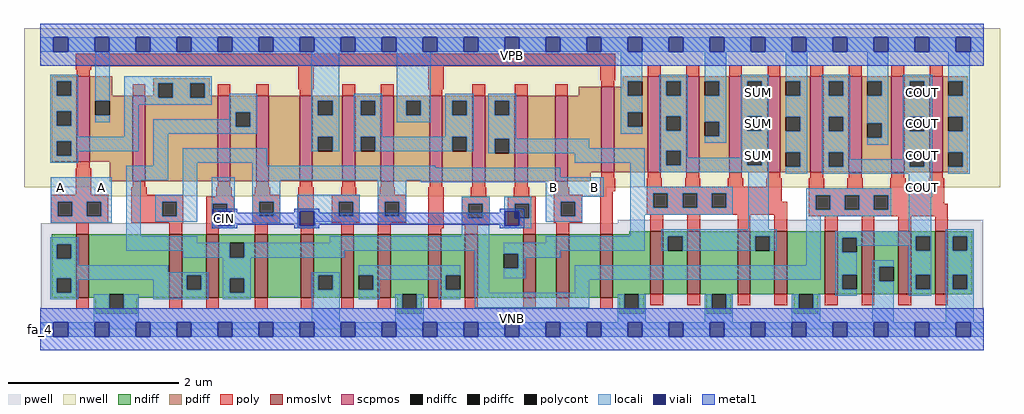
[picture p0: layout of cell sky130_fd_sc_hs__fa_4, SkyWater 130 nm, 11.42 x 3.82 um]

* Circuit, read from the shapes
.subckt sky130_fd_sc_hs__fa_4 A B CIN VGND VNB VPB VPWR COUT SUM
XM1 VGND A n1 VNB sky130_fd_pr__nfet_01v8_lvt w=0.74 l=0.15
XM2 n1 B VGND VNB sky130_fd_pr__nfet_01v8_lvt w=0.74 l=0.15
XM3 n2 CIN n1 VNB sky130_fd_pr__nfet_01v8_lvt w=0.74 l=0.15
XM4 n3 B n2 VNB sky130_fd_pr__nfet_01v8_lvt w=0.74 l=0.15
XM5 VGND A n3 VNB sky130_fd_pr__nfet_01v8_lvt w=0.74 l=0.15
XM6 n4 CIN VGND VNB sky130_fd_pr__nfet_01v8_lvt w=0.74 l=0.15
XM7 VGND B n4 VNB sky130_fd_pr__nfet_01v8_lvt w=0.74 l=0.15
XM8 n4 A VGND VNB sky130_fd_pr__nfet_01v8_lvt w=0.74 l=0.15
XM9 n5 n2 n4 VNB sky130_fd_pr__nfet_01v8_lvt w=0.74 l=0.15
XM10 n6 CIN n5 VNB sky130_fd_pr__nfet_01v8_lvt w=0.74 l=0.15
XM11 n7 B n6 VNB sky130_fd_pr__nfet_01v8_lvt w=0.74 l=0.15
XM12 VGND A n7 VNB sky130_fd_pr__nfet_01v8_lvt w=0.74 l=0.15
XM13 SUM n5 VGND VNB sky130_fd_pr__nfet_01v8_lvt w=0.74 l=0.15 m=4
XM14 COUT n2 VGND VNB sky130_fd_pr__nfet_01v8_lvt w=0.74 l=0.15 m=4
XM15 VPWR A n8 VPB sky130_fd_pr__pfet_01v8 w=1 l=0.15
XM16 n8 B VPWR VPB sky130_fd_pr__pfet_01v8 w=1 l=0.15
XM17 n2 CIN n8 VPB sky130_fd_pr__pfet_01v8 w=1 l=0.15
XM18 n9 B n2 VPB sky130_fd_pr__pfet_01v8 w=1 l=0.15
XM19 VPWR A n9 VPB sky130_fd_pr__pfet_01v8 w=1 l=0.15
XM20 n10 CIN VPWR VPB sky130_fd_pr__pfet_01v8 w=1 l=0.15
XM21 VPWR B n10 VPB sky130_fd_pr__pfet_01v8 w=1 l=0.15
XM22 n10 A VPWR VPB sky130_fd_pr__pfet_01v8 w=1 l=0.15
XM23 n5 n2 n10 VPB sky130_fd_pr__pfet_01v8 w=1 l=0.15
XM24 n11 CIN n5 VPB sky130_fd_pr__pfet_01v8 w=1 l=0.15
XM25 n12 B n11 VPB sky130_fd_pr__pfet_01v8 w=1 l=0.15
XM26 VPWR A n12 VPB sky130_fd_pr__pfet_01v8 w=1 l=0.15
XM27 SUM n5 VPWR VPB sky130_fd_pr__pfet_01v8 w=1.12 l=0.15 m=4
XM28 COUT n2 VPWR VPB sky130_fd_pr__pfet_01v8 w=1.12 l=0.15 m=4
.ends

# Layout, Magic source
magic
tech sky130A
magscale 1 2
<< nwell >>
rect -38 332 2246 704
rect 127 311 1324 332
<< pwell >>
rect 1352 248 2207 256
rect 1 49 2207 248
rect 0 0 2208 49
<< scpmos >>
rect 86 392 116 592
rect 216 347 246 547
rect 415 347 445 547
rect 505 347 535 547
rect 607 347 637 547
rect 707 347 737 547
rect 797 347 827 547
rect 911 347 941 547
rect 1011 347 1041 547
rect 1111 347 1141 547
rect 1205 347 1235 547
rect 1313 368 1343 568
rect 1422 368 1452 592
rect 1512 368 1542 592
rect 1612 368 1642 592
rect 1702 368 1732 592
rect 1802 368 1832 592
rect 1892 368 1922 592
rect 1992 368 2022 592
rect 2082 368 2112 592
<< nmoslvt >>
rect 84 74 114 222
rect 302 74 332 222
rect 388 74 418 222
rect 502 74 532 222
rect 610 74 640 222
rect 704 74 734 222
rect 790 74 820 222
rect 908 74 938 222
rect 994 74 1024 222
rect 1130 74 1160 222
rect 1208 74 1238 222
rect 1310 74 1340 222
rect 1428 82 1458 230
rect 1514 82 1544 230
rect 1632 82 1662 230
rect 1718 82 1748 230
rect 1836 82 1866 230
rect 1922 82 1952 230
rect 2008 82 2038 230
rect 2094 82 2124 230
<< ndiff >>
rect 1378 222 1428 230
rect 27 199 84 222
rect 27 165 39 199
rect 73 165 84 199
rect 27 120 84 165
rect 27 86 39 120
rect 73 86 84 120
rect 27 74 84 86
rect 114 82 302 222
rect 114 74 161 82
rect 129 48 161 74
rect 195 74 302 82
rect 332 127 388 222
rect 332 93 343 127
rect 377 93 388 127
rect 332 74 388 93
rect 418 202 502 222
rect 418 168 443 202
rect 477 168 502 202
rect 418 120 502 168
rect 418 86 443 120
rect 477 86 502 120
rect 418 74 502 86
rect 532 74 610 222
rect 640 127 704 222
rect 640 93 651 127
rect 685 93 704 127
rect 640 74 704 93
rect 734 127 790 222
rect 734 93 745 127
rect 779 93 790 127
rect 734 74 790 93
rect 820 82 908 222
rect 820 74 847 82
rect 195 48 227 74
rect 835 48 847 74
rect 881 74 908 82
rect 938 127 994 222
rect 938 93 949 127
rect 983 93 994 127
rect 938 74 994 93
rect 1024 177 1130 222
rect 1024 143 1085 177
rect 1119 143 1130 177
rect 1024 74 1130 143
rect 1160 74 1208 222
rect 1238 74 1310 222
rect 1340 82 1428 222
rect 1458 218 1514 230
rect 1458 184 1469 218
rect 1503 184 1514 218
rect 1458 82 1514 184
rect 1544 82 1632 230
rect 1662 218 1718 230
rect 1662 184 1673 218
rect 1707 184 1718 218
rect 1662 82 1718 184
rect 1748 82 1836 230
rect 1866 214 1922 230
rect 1866 180 1877 214
rect 1911 180 1922 214
rect 1866 128 1922 180
rect 1866 94 1877 128
rect 1911 94 1922 128
rect 1866 82 1922 94
rect 1952 146 2008 230
rect 1952 112 1963 146
rect 1997 112 2008 146
rect 1952 82 2008 112
rect 2038 218 2094 230
rect 2038 184 2049 218
rect 2083 184 2094 218
rect 2038 128 2094 184
rect 2038 94 2049 128
rect 2083 94 2094 128
rect 2038 82 2094 94
rect 2124 218 2181 230
rect 2124 184 2135 218
rect 2169 184 2181 218
rect 2124 128 2181 184
rect 2124 94 2135 128
rect 2169 94 2181 128
rect 2124 82 2181 94
rect 1340 74 1367 82
rect 881 48 893 74
rect 1355 48 1367 74
rect 1401 48 1413 82
rect 129 36 227 48
rect 835 36 893 48
rect 1355 36 1413 48
rect 1559 48 1571 82
rect 1605 48 1617 82
rect 1559 36 1617 48
rect 1763 48 1775 82
rect 1809 48 1821 82
rect 1763 36 1821 48
<< pdiff >>
rect 27 580 86 592
rect 27 546 39 580
rect 73 546 86 580
rect 27 510 86 546
rect 27 476 39 510
rect 73 476 86 510
rect 27 440 86 476
rect 27 406 39 440
rect 73 406 86 440
rect 27 392 86 406
rect 116 547 169 592
rect 264 576 397 588
rect 264 547 276 576
rect 116 535 216 547
rect 116 501 129 535
rect 163 501 216 535
rect 116 392 216 501
rect 163 347 216 392
rect 246 542 276 547
rect 310 542 351 576
rect 385 547 397 576
rect 1363 580 1422 592
rect 1363 568 1375 580
rect 1260 547 1313 568
rect 385 542 415 547
rect 246 347 415 542
rect 445 508 505 547
rect 445 474 458 508
rect 492 474 505 508
rect 445 347 505 474
rect 535 347 607 547
rect 637 535 707 547
rect 637 501 650 535
rect 684 501 707 535
rect 637 451 707 501
rect 637 417 650 451
rect 684 417 707 451
rect 637 347 707 417
rect 737 535 797 547
rect 737 501 750 535
rect 784 501 797 535
rect 737 451 797 501
rect 737 417 750 451
rect 784 417 797 451
rect 737 347 797 417
rect 827 535 911 547
rect 827 501 857 535
rect 891 501 911 535
rect 827 347 911 501
rect 941 535 1011 547
rect 941 501 964 535
rect 998 501 1011 535
rect 941 451 1011 501
rect 941 417 964 451
rect 998 417 1011 451
rect 941 347 1011 417
rect 1041 535 1111 547
rect 1041 501 1064 535
rect 1098 501 1111 535
rect 1041 446 1111 501
rect 1041 412 1064 446
rect 1098 412 1111 446
rect 1041 347 1111 412
rect 1141 347 1205 547
rect 1235 368 1313 547
rect 1343 546 1375 568
rect 1409 546 1422 580
rect 1343 508 1422 546
rect 1343 474 1375 508
rect 1409 474 1422 508
rect 1343 368 1422 474
rect 1452 580 1512 592
rect 1452 546 1465 580
rect 1499 546 1512 580
rect 1452 499 1512 546
rect 1452 465 1465 499
rect 1499 465 1512 499
rect 1452 418 1512 465
rect 1452 384 1465 418
rect 1499 384 1512 418
rect 1452 368 1512 384
rect 1542 580 1612 592
rect 1542 546 1555 580
rect 1589 546 1612 580
rect 1542 486 1612 546
rect 1542 452 1555 486
rect 1589 452 1612 486
rect 1542 368 1612 452
rect 1642 580 1702 592
rect 1642 546 1655 580
rect 1689 546 1702 580
rect 1642 499 1702 546
rect 1642 465 1655 499
rect 1689 465 1702 499
rect 1642 418 1702 465
rect 1642 384 1655 418
rect 1689 384 1702 418
rect 1642 368 1702 384
rect 1732 580 1802 592
rect 1732 546 1745 580
rect 1779 546 1802 580
rect 1732 497 1802 546
rect 1732 463 1745 497
rect 1779 463 1802 497
rect 1732 414 1802 463
rect 1732 380 1745 414
rect 1779 380 1802 414
rect 1732 368 1802 380
rect 1832 580 1892 592
rect 1832 546 1845 580
rect 1879 546 1892 580
rect 1832 497 1892 546
rect 1832 463 1845 497
rect 1879 463 1892 497
rect 1832 414 1892 463
rect 1832 380 1845 414
rect 1879 380 1892 414
rect 1832 368 1892 380
rect 1922 580 1992 592
rect 1922 546 1935 580
rect 1969 546 1992 580
rect 1922 482 1992 546
rect 1922 448 1935 482
rect 1969 448 1992 482
rect 1922 368 1992 448
rect 2022 580 2082 592
rect 2022 546 2035 580
rect 2069 546 2082 580
rect 2022 497 2082 546
rect 2022 463 2035 497
rect 2069 463 2082 497
rect 2022 414 2082 463
rect 2022 380 2035 414
rect 2069 380 2082 414
rect 2022 368 2082 380
rect 2112 580 2171 592
rect 2112 546 2125 580
rect 2159 546 2171 580
rect 2112 497 2171 546
rect 2112 463 2125 497
rect 2159 463 2171 497
rect 2112 414 2171 463
rect 2112 380 2125 414
rect 2159 380 2171 414
rect 2112 368 2171 380
rect 1235 347 1288 368
<< ndiffc >>
rect 39 165 73 199
rect 39 86 73 120
rect 161 48 195 82
rect 343 93 377 127
rect 443 168 477 202
rect 443 86 477 120
rect 651 93 685 127
rect 745 93 779 127
rect 847 48 881 82
rect 949 93 983 127
rect 1085 143 1119 177
rect 1469 184 1503 218
rect 1673 184 1707 218
rect 1877 180 1911 214
rect 1877 94 1911 128
rect 1963 112 1997 146
rect 2049 184 2083 218
rect 2049 94 2083 128
rect 2135 184 2169 218
rect 2135 94 2169 128
rect 1367 48 1401 82
rect 1571 48 1605 82
rect 1775 48 1809 82
<< pdiffc >>
rect 39 546 73 580
rect 39 476 73 510
rect 39 406 73 440
rect 129 501 163 535
rect 276 542 310 576
rect 351 542 385 576
rect 458 474 492 508
rect 650 501 684 535
rect 650 417 684 451
rect 750 501 784 535
rect 750 417 784 451
rect 857 501 891 535
rect 964 501 998 535
rect 964 417 998 451
rect 1064 501 1098 535
rect 1064 412 1098 446
rect 1375 546 1409 580
rect 1375 474 1409 508
rect 1465 546 1499 580
rect 1465 465 1499 499
rect 1465 384 1499 418
rect 1555 546 1589 580
rect 1555 452 1589 486
rect 1655 546 1689 580
rect 1655 465 1689 499
rect 1655 384 1689 418
rect 1745 546 1779 580
rect 1745 463 1779 497
rect 1745 380 1779 414
rect 1845 546 1879 580
rect 1845 463 1879 497
rect 1845 380 1879 414
rect 1935 546 1969 580
rect 1935 448 1969 482
rect 2035 546 2069 580
rect 2035 463 2069 497
rect 2035 380 2069 414
rect 2125 546 2159 580
rect 2125 463 2159 497
rect 2125 380 2159 414
<< poly >>
rect 83 615 1346 645
rect 83 607 119 615
rect 86 592 116 607
rect 216 547 246 573
rect 86 377 116 392
rect 83 315 119 377
rect 415 547 445 573
rect 505 547 535 573
rect 604 562 640 615
rect 607 547 637 562
rect 707 547 737 573
rect 797 547 827 573
rect 908 562 944 615
rect 1310 583 1346 615
rect 1422 592 1452 618
rect 1512 592 1542 618
rect 1612 592 1642 618
rect 1702 592 1732 618
rect 1802 592 1832 618
rect 1892 592 1922 618
rect 1992 592 2022 618
rect 2082 592 2112 618
rect 911 547 941 562
rect 1011 547 1041 573
rect 1111 547 1141 573
rect 1205 547 1235 573
rect 1313 568 1343 583
rect 1313 353 1343 368
rect 1422 353 1452 368
rect 1512 353 1542 368
rect 1612 353 1642 368
rect 1702 353 1732 368
rect 1802 353 1832 368
rect 1892 353 1922 368
rect 1992 353 2022 368
rect 2082 353 2112 368
rect 216 332 246 347
rect 415 332 445 347
rect 505 332 535 347
rect 607 332 637 347
rect 707 332 737 347
rect 797 332 827 347
rect 911 332 941 347
rect 1011 332 1041 347
rect 1111 332 1141 347
rect 1205 332 1235 347
rect 213 315 249 332
rect 25 299 159 315
rect 25 265 41 299
rect 75 265 109 299
rect 143 265 159 299
rect 25 249 159 265
rect 213 299 335 315
rect 412 310 448 332
rect 502 315 538 332
rect 213 265 285 299
rect 319 265 335 299
rect 213 249 335 265
rect 388 294 454 310
rect 388 260 404 294
rect 438 260 454 294
rect 84 222 114 249
rect 302 222 332 249
rect 388 244 454 260
rect 496 299 562 315
rect 496 265 512 299
rect 546 265 562 299
rect 496 249 562 265
rect 388 222 418 244
rect 502 222 532 249
rect 604 237 640 332
rect 704 315 740 332
rect 794 315 830 332
rect 682 299 748 315
rect 682 265 698 299
rect 732 265 748 299
rect 682 249 748 265
rect 790 299 856 315
rect 790 265 806 299
rect 840 265 856 299
rect 790 249 856 265
rect 610 222 640 237
rect 704 222 734 249
rect 790 222 820 249
rect 908 237 944 332
rect 1008 310 1044 332
rect 1108 310 1144 332
rect 1202 315 1238 332
rect 1310 323 1346 353
rect 1419 334 1455 353
rect 1509 334 1545 353
rect 1609 334 1645 353
rect 1699 334 1735 353
rect 986 294 1052 310
rect 986 260 1002 294
rect 1036 260 1052 294
rect 986 244 1052 260
rect 1094 294 1160 310
rect 1094 260 1110 294
rect 1144 260 1160 294
rect 1094 244 1160 260
rect 1202 299 1268 315
rect 1202 265 1218 299
rect 1252 265 1268 299
rect 1202 249 1268 265
rect 908 222 938 237
rect 994 222 1024 244
rect 1130 222 1160 244
rect 1208 222 1238 249
rect 1310 222 1340 323
rect 1419 318 1735 334
rect 1419 284 1435 318
rect 1469 284 1503 318
rect 1537 284 1571 318
rect 1605 298 1735 318
rect 1799 330 1835 353
rect 1889 330 1925 353
rect 1989 330 2025 353
rect 2079 330 2115 353
rect 1799 314 2115 330
rect 1605 284 1748 298
rect 1419 268 1748 284
rect 1428 230 1458 268
rect 1514 230 1544 268
rect 1632 230 1662 268
rect 1718 230 1748 268
rect 1799 280 1815 314
rect 1849 280 1883 314
rect 1917 280 1951 314
rect 1985 294 2115 314
rect 1985 280 2124 294
rect 1799 264 2124 280
rect 1836 230 1866 264
rect 1922 230 1952 264
rect 2008 230 2038 264
rect 2094 230 2124 264
rect 84 48 114 74
rect 302 48 332 74
rect 388 48 418 74
rect 502 48 532 74
rect 610 48 640 74
rect 704 48 734 74
rect 790 48 820 74
rect 908 48 938 74
rect 994 48 1024 74
rect 1130 48 1160 74
rect 1208 48 1238 74
rect 1310 48 1340 74
rect 1428 56 1458 82
rect 1514 56 1544 82
rect 1632 56 1662 82
rect 1718 56 1748 82
rect 1836 56 1866 82
rect 1922 56 1952 82
rect 2008 56 2038 82
rect 2094 56 2124 82
<< polycont >>
rect 41 265 75 299
rect 109 265 143 299
rect 285 265 319 299
rect 404 260 438 294
rect 512 265 546 299
rect 698 265 732 299
rect 806 265 840 299
rect 1002 260 1036 294
rect 1110 260 1144 294
rect 1218 265 1252 299
rect 1435 284 1469 318
rect 1503 284 1537 318
rect 1571 284 1605 318
rect 1815 280 1849 314
rect 1883 280 1917 314
rect 1951 280 1985 314
<< locali >>
rect 0 649 31 683
rect 65 649 127 683
rect 161 649 223 683
rect 257 649 319 683
rect 353 649 415 683
rect 449 649 511 683
rect 545 649 607 683
rect 641 649 703 683
rect 737 649 799 683
rect 833 649 895 683
rect 929 649 991 683
rect 1025 649 1087 683
rect 1121 649 1183 683
rect 1217 649 1279 683
rect 1313 649 1375 683
rect 1409 649 1471 683
rect 1505 649 1567 683
rect 1601 649 1663 683
rect 1697 649 1759 683
rect 1793 649 1855 683
rect 1889 649 1951 683
rect 1985 649 2047 683
rect 2081 649 2143 683
rect 2177 649 2208 683
rect 23 580 89 596
rect 23 546 39 580
rect 73 546 89 580
rect 23 510 89 546
rect 23 476 39 510
rect 73 476 89 510
rect 129 535 163 649
rect 129 485 163 501
rect 197 576 401 592
rect 197 542 276 576
rect 310 542 351 576
rect 385 542 401 576
rect 197 526 401 542
rect 23 451 89 476
rect 197 451 231 526
rect 442 508 508 551
rect 442 492 458 508
rect 23 440 231 451
rect 23 406 39 440
rect 73 417 231 440
rect 265 474 458 492
rect 492 474 508 508
rect 265 458 508 474
rect 634 535 700 649
rect 634 501 650 535
rect 684 501 700 535
rect 73 406 89 417
rect 23 390 89 406
rect 265 383 299 458
rect 634 451 700 501
rect 25 299 167 356
rect 25 265 41 299
rect 75 265 109 299
rect 143 265 167 299
rect 25 249 167 265
rect 201 349 299 383
rect 333 390 530 424
rect 634 417 650 451
rect 684 417 700 451
rect 734 535 800 551
rect 734 501 750 535
rect 784 501 800 535
rect 734 451 800 501
rect 834 535 914 649
rect 1359 580 1409 649
rect 834 501 857 535
rect 891 501 914 535
rect 834 485 914 501
rect 948 535 1014 551
rect 948 501 964 535
rect 998 501 1014 535
rect 948 451 1014 501
rect 734 417 750 451
rect 784 417 964 451
rect 998 417 1014 451
rect 1048 535 1114 551
rect 1048 501 1064 535
rect 1098 501 1114 535
rect 1048 446 1114 501
rect 1359 546 1375 580
rect 1359 508 1409 546
rect 1359 474 1375 508
rect 1359 458 1409 474
rect 1449 580 1515 596
rect 1449 546 1465 580
rect 1499 546 1515 580
rect 1449 499 1515 546
rect 1449 465 1465 499
rect 1499 465 1515 499
rect 1048 412 1064 446
rect 1098 424 1285 446
rect 1098 412 1415 424
rect 1251 390 1415 412
rect 201 218 235 349
rect 333 315 367 390
rect 496 383 530 390
rect 496 378 924 383
rect 496 356 1217 378
rect 269 299 367 315
rect 269 265 285 299
rect 319 265 367 299
rect 269 252 367 265
rect 401 294 455 356
rect 401 260 404 294
rect 438 276 455 294
rect 401 242 415 260
rect 449 242 455 276
rect 496 349 1319 356
rect 496 299 562 349
rect 496 265 512 299
rect 546 265 562 299
rect 496 249 562 265
rect 601 299 748 315
rect 601 276 698 299
rect 401 236 455 242
rect 601 242 607 276
rect 641 265 698 276
rect 732 265 748 299
rect 641 252 748 265
rect 790 299 856 349
rect 890 344 1319 349
rect 1183 310 1319 344
rect 1381 334 1415 390
rect 1449 418 1515 465
rect 1555 580 1605 649
rect 1589 546 1605 580
rect 1555 486 1605 546
rect 1589 452 1605 486
rect 1555 436 1605 452
rect 1639 580 1705 596
rect 1639 546 1655 580
rect 1689 546 1705 580
rect 1639 499 1705 546
rect 1639 465 1655 499
rect 1689 465 1705 499
rect 1449 384 1465 418
rect 1499 402 1515 418
rect 1639 418 1705 465
rect 1639 402 1655 418
rect 1499 384 1655 402
rect 1689 384 1705 418
rect 1449 368 1705 384
rect 1381 318 1621 334
rect 790 265 806 299
rect 840 265 856 299
rect 790 252 856 265
rect 986 294 1052 310
rect 986 260 1002 294
rect 1036 260 1052 294
rect 641 242 643 252
rect 601 236 643 242
rect 986 244 1052 260
rect 1086 294 1149 310
rect 1086 276 1110 294
rect 986 218 1051 244
rect 1086 242 1087 276
rect 1144 260 1149 294
rect 1121 242 1149 260
rect 1183 299 1268 310
rect 1183 265 1218 299
rect 1252 265 1268 299
rect 1183 252 1268 265
rect 1381 284 1435 318
rect 1469 284 1503 318
rect 1537 284 1571 318
rect 1605 284 1621 318
rect 1381 268 1621 284
rect 1086 236 1149 242
rect 1381 218 1415 268
rect 1657 234 1705 368
rect 1745 580 1795 649
rect 1779 546 1795 580
rect 1745 497 1795 546
rect 1779 463 1795 497
rect 1745 414 1795 463
rect 1779 380 1795 414
rect 1745 364 1795 380
rect 1829 580 1895 596
rect 1829 546 1845 580
rect 1879 546 1895 580
rect 1829 497 1895 546
rect 1829 463 1845 497
rect 1879 463 1895 497
rect 1829 414 1895 463
rect 1935 580 1985 649
rect 1969 546 1985 580
rect 1935 482 1985 546
rect 1969 448 1985 482
rect 1935 432 1985 448
rect 2019 580 2087 596
rect 2019 546 2035 580
rect 2069 546 2087 580
rect 2019 497 2087 546
rect 2019 463 2035 497
rect 2069 463 2087 497
rect 1829 380 1845 414
rect 1879 398 1895 414
rect 2019 414 2087 463
rect 2019 398 2035 414
rect 1879 380 2035 398
rect 2069 380 2087 414
rect 1829 364 2087 380
rect 2125 580 2175 649
rect 2159 546 2175 580
rect 2125 497 2175 546
rect 2159 463 2175 497
rect 2125 414 2175 463
rect 2159 380 2175 414
rect 2125 364 2175 380
rect 1793 314 1991 330
rect 1793 280 1815 314
rect 1849 280 1883 314
rect 1917 280 1951 314
rect 1985 280 1991 314
rect 1793 264 1991 280
rect 2033 310 2087 364
rect 23 199 89 215
rect 23 165 39 199
rect 73 165 89 199
rect 201 202 367 218
rect 677 202 1051 218
rect 1183 202 1415 218
rect 201 184 443 202
rect 333 168 443 184
rect 477 184 1051 202
rect 477 168 711 184
rect 23 150 89 165
rect 23 134 299 150
rect 23 127 393 134
rect 23 120 343 127
rect 23 86 39 120
rect 73 116 343 120
rect 73 86 89 116
rect 23 70 89 86
rect 265 93 343 116
rect 377 93 393 127
rect 125 48 161 82
rect 195 48 231 82
rect 265 70 393 93
rect 427 120 493 168
rect 427 86 443 120
rect 477 86 493 120
rect 427 70 493 86
rect 635 127 701 134
rect 635 93 651 127
rect 685 93 701 127
rect 125 17 231 48
rect 635 17 701 93
rect 745 127 983 150
rect 779 116 949 127
rect 779 93 795 116
rect 745 70 795 93
rect 933 93 949 116
rect 831 48 847 82
rect 881 48 897 82
rect 933 70 983 93
rect 1017 85 1051 184
rect 1085 184 1415 202
rect 1453 218 1723 234
rect 1453 184 1469 218
rect 1503 184 1673 218
rect 1707 184 1723 218
rect 1085 177 1217 184
rect 1119 168 1217 177
rect 1119 143 1135 168
rect 1793 150 1827 264
rect 2033 230 2085 310
rect 1085 119 1135 143
rect 1251 116 1827 150
rect 1861 218 2085 230
rect 1861 214 2049 218
rect 1861 180 1877 214
rect 1911 196 2049 214
rect 1861 128 1911 180
rect 2033 184 2049 196
rect 2083 184 2085 218
rect 1251 85 1285 116
rect 1017 51 1285 85
rect 1861 94 1877 128
rect 831 17 897 48
rect 1351 48 1367 82
rect 1401 48 1417 82
rect 1351 17 1417 48
rect 1555 48 1571 82
rect 1605 48 1621 82
rect 1555 17 1621 48
rect 1759 48 1775 82
rect 1809 48 1825 82
rect 1861 78 1911 94
rect 1947 146 1997 162
rect 1947 112 1963 146
rect 1759 17 1825 48
rect 1947 17 1997 112
rect 2033 128 2085 184
rect 2033 94 2049 128
rect 2083 94 2085 128
rect 2033 78 2085 94
rect 2119 218 2185 234
rect 2119 184 2135 218
rect 2169 184 2185 218
rect 2119 128 2185 184
rect 2119 94 2135 128
rect 2169 94 2185 128
rect 2119 17 2185 94
rect 0 -17 31 17
rect 65 -17 127 17
rect 161 -17 223 17
rect 257 -17 319 17
rect 353 -17 415 17
rect 449 -17 511 17
rect 545 -17 607 17
rect 641 -17 703 17
rect 737 -17 799 17
rect 833 -17 895 17
rect 929 -17 991 17
rect 1025 -17 1087 17
rect 1121 -17 1183 17
rect 1217 -17 1279 17
rect 1313 -17 1375 17
rect 1409 -17 1471 17
rect 1505 -17 1567 17
rect 1601 -17 1663 17
rect 1697 -17 1759 17
rect 1793 -17 1855 17
rect 1889 -17 1951 17
rect 1985 -17 2047 17
rect 2081 -17 2143 17
rect 2177 -17 2208 17
<< viali >>
rect 31 649 65 683
rect 127 649 161 683
rect 223 649 257 683
rect 319 649 353 683
rect 415 649 449 683
rect 511 649 545 683
rect 607 649 641 683
rect 703 649 737 683
rect 799 649 833 683
rect 895 649 929 683
rect 991 649 1025 683
rect 1087 649 1121 683
rect 1183 649 1217 683
rect 1279 649 1313 683
rect 1375 649 1409 683
rect 1471 649 1505 683
rect 1567 649 1601 683
rect 1663 649 1697 683
rect 1759 649 1793 683
rect 1855 649 1889 683
rect 1951 649 1985 683
rect 2047 649 2081 683
rect 2143 649 2177 683
rect 415 260 438 276
rect 438 260 449 276
rect 415 242 449 260
rect 607 242 641 276
rect 1087 260 1110 276
rect 1110 260 1121 276
rect 1087 242 1121 260
rect 31 -17 65 17
rect 127 -17 161 17
rect 223 -17 257 17
rect 319 -17 353 17
rect 415 -17 449 17
rect 511 -17 545 17
rect 607 -17 641 17
rect 703 -17 737 17
rect 799 -17 833 17
rect 895 -17 929 17
rect 991 -17 1025 17
rect 1087 -17 1121 17
rect 1183 -17 1217 17
rect 1279 -17 1313 17
rect 1375 -17 1409 17
rect 1471 -17 1505 17
rect 1567 -17 1601 17
rect 1663 -17 1697 17
rect 1759 -17 1793 17
rect 1855 -17 1889 17
rect 1951 -17 1985 17
rect 2047 -17 2081 17
rect 2143 -17 2177 17
<< metal1 >>
rect 0 683 2208 715
rect 0 649 31 683
rect 65 649 127 683
rect 161 649 223 683
rect 257 649 319 683
rect 353 649 415 683
rect 449 649 511 683
rect 545 649 607 683
rect 641 649 703 683
rect 737 649 799 683
rect 833 649 895 683
rect 929 649 991 683
rect 1025 649 1087 683
rect 1121 649 1183 683
rect 1217 649 1279 683
rect 1313 649 1375 683
rect 1409 649 1471 683
rect 1505 649 1567 683
rect 1601 649 1663 683
rect 1697 649 1759 683
rect 1793 649 1855 683
rect 1889 649 1951 683
rect 1985 649 2047 683
rect 2081 649 2143 683
rect 2177 649 2208 683
rect 0 617 2208 649
rect 403 276 461 282
rect 403 242 415 276
rect 449 273 461 276
rect 595 276 653 282
rect 595 273 607 276
rect 449 245 607 273
rect 449 242 461 245
rect 403 236 461 242
rect 595 242 607 245
rect 641 273 653 276
rect 1075 276 1133 282
rect 1075 273 1087 276
rect 641 245 1087 273
rect 641 242 653 245
rect 595 236 653 242
rect 1075 242 1087 245
rect 1121 242 1133 276
rect 1075 236 1133 242
rect 0 17 2208 49
rect 0 -17 31 17
rect 65 -17 127 17
rect 161 -17 223 17
rect 257 -17 319 17
rect 353 -17 415 17
rect 449 -17 511 17
rect 545 -17 607 17
rect 641 -17 703 17
rect 737 -17 799 17
rect 833 -17 895 17
rect 929 -17 991 17
rect 1025 -17 1087 17
rect 1121 -17 1183 17
rect 1217 -17 1279 17
rect 1313 -17 1375 17
rect 1409 -17 1471 17
rect 1505 -17 1567 17
rect 1601 -17 1663 17
rect 1697 -17 1759 17
rect 1793 -17 1855 17
rect 1889 -17 1951 17
rect 1985 -17 2047 17
rect 2081 -17 2143 17
rect 2177 -17 2208 17
rect 0 -49 2208 -17
<< labels >>
rlabel comment s 0 0 0 0 4 fa_4
flabel pwell s 0 0 2208 49 0 FreeSans 200 0 0 0 VNB
port 5 nsew ground bidirectional
flabel nwell s 0 617 2208 666 0 FreeSans 200 0 0 0 VPB
port 6 nsew power bidirectional
flabel metal1 s 415 242 449 276 0 FreeSans 340 0 0 0 CIN
port 3 nsew signal input
flabel metal1 s 0 617 2208 666 0 FreeSans 340 0 0 0 VPWR
port 7 nsew power bidirectional
flabel metal1 s 0 0 2208 49 0 FreeSans 340 0 0 0 VGND
port 4 nsew ground bidirectional
flabel locali s 1183 316 1217 350 0 FreeSans 340 0 0 0 B
port 2 nsew signal input
flabel locali s 1279 316 1313 350 0 FreeSans 340 0 0 0 B
port 2 nsew signal input
flabel locali s 2047 316 2081 350 0 FreeSans 340 0 0 0 COUT
port 8 nsew signal output
flabel locali s 2047 390 2081 424 0 FreeSans 340 0 0 0 COUT
port 8 nsew signal output
flabel locali s 2047 464 2081 498 0 FreeSans 340 0 0 0 COUT
port 8 nsew signal output
flabel locali s 2047 538 2081 572 0 FreeSans 340 0 0 0 COUT
port 8 nsew signal output
flabel locali s 1663 390 1697 424 0 FreeSans 340 0 0 0 SUM
port 9 nsew signal output
flabel locali s 1663 464 1697 498 0 FreeSans 340 0 0 0 SUM
port 9 nsew signal output
flabel locali s 1663 538 1697 572 0 FreeSans 340 0 0 0 SUM
port 9 nsew signal output
flabel locali s 31 316 65 350 0 FreeSans 340 0 0 0 A
port 1 nsew signal input
flabel locali s 127 316 161 350 0 FreeSans 340 0 0 0 A
port 1 nsew signal input
<< properties >>
string LEFsite unit
string LEFclass CORE
string FIXED_BBOX 0 0 2208 666
string GDS_FILE $PDKPATH/libs.ref/sky130_fd_sc_hs/gds/sky130_fd_sc_hs.gds
string LEFsymmetry X Y
string GDS_END 1516936
string GDS_START 1499894
<< end >>
